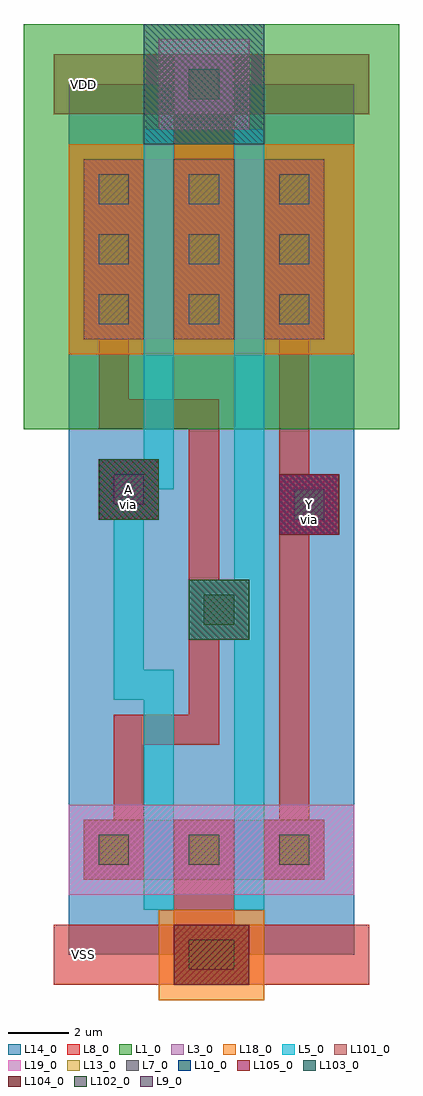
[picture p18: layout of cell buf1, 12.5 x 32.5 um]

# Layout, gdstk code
import gdstk
lib = gdstk.Library(unit=1e-6, precision=1e-09)
def R(c, l, rs):  # rectangles x0, y0, x1, y1
    for r in rs: c.add(gdstk.rectangle(r[:2], r[2:], *l))
L1_0 = (1, 0)
L3_0 = (3, 0)
L5_0 = (5, 0)
L7_0 = (7, 0)
L8_0 = (8, 0)
L9_0 = (9, 0)
L10_0 = (10, 0)
L13_0 = (13, 0)
L14_0 = (14, 0)
L18_0 = (18, 0)
L19_0 = (19, 0)
L101_0 = (101, 0)
L102_0 = (102, 0)
L103_0 = (103, 0)
L104_0 = (104, 0)
L105_0 = (105, 0)

dcont = lib.new_cell('dcont')
R(dcont, L3_0, [(-1,-1,1,1)])
R(dcont, L7_0, [(-0.5,-0.5,0.5,0.5)])
R(dcont, L8_0, [(-1,-1,1,1)])
R(dcont, L13_0, [(-0.5,-0.5,0.5,0.5)])
R(dcont, L101_0, [(-1,-1,1,1)])
dcont.add(gdstk.Label('dcont', (0,0), layer=13, texttype=0))

psubcont = lib.new_cell('psubcont')
R(psubcont, L18_0, [(-1.5,-1.5,1.5,1.5)])
R(psubcont, L104_0, [(-1,-1,1,1)])
psubcont.add(gdstk.Reference(dcont, (0,0)))
psubcont.add(gdstk.Label('PScon', (0,0), layer=13, texttype=0))

nsubcont = lib.new_cell('nsubcont')
R(nsubcont, L1_0, [(-2,-2,2,2)])
R(nsubcont, L19_0, [(-1.5,-1.5,1.5,1.5)])
R(nsubcont, L103_0, [(-2,-2,2,2)])
nsubcont.add(gdstk.Reference(dcont, (0,0)))
nsubcont.add(gdstk.Label('NScont', (0,0), layer=13, texttype=0))

via = lib.new_cell('Via')
R(via, L8_0, [(-1,-1,1,1)])
R(via, L9_0, [(-0.5,-0.5,0.5,0.5)])
R(via, L10_0, [(-1,-1,1,1)])
R(via, L13_0, [(-0.5,-0.5,0.5,0.5)])
R(via, L105_0, [(-1,-1,1,1)])
via.add(gdstk.Label('via', (0,0), layer=13, texttype=0))

pcont = lib.new_cell('pcont')
R(pcont, L5_0, [(-1,-1,1,1)])
R(pcont, L7_0, [(-0.5,-0.5,0.5,0.5)])
R(pcont, L8_0, [(-1,-1,1,1)])
R(pcont, L102_0, [(-1,-1,1,1)])
pcont.add(gdstk.Label('pcont', (0,0), layer=13, texttype=0))

buf1 = lib.new_cell('buf1')
R(buf1, L1_0, [(-1.5,17.5,11,31)])
R(buf1, L3_0, [(0.5,2.5,8.5,4.5), (0.5,20.5,8.5,26.5)])
R(buf1, L8_0, [(-0.5,-1,10,1), (7,14,9,16), (1,14.5,3,16.5), (-0.5,28,10,30)])
R(buf1, L10_0, [(7,14,9,16), (1,14.5,3,16.5)])
R(buf1, L14_0, [(0,0,9.5,29)])
R(buf1, L18_0, [(0,20,9.5,27)])
R(buf1, L19_0, [(0,2,9.5,5)])
R(buf1, L105_0, [(7,14,9,16), (1,14.5,3,16.5)])
buf1.add(gdstk.FlexPath([(4.5,21.5),(4.5,28.5)], 2, ends="extended", simple_path=True, layer=8, datatype=0))  # L8_0
buf1.add(gdstk.FlexPath([(4.5,1),(4.5,3.5)], 2, ends="extended", simple_path=True, layer=8, datatype=0))  # L8_0
buf1.add(gdstk.FlexPath([(1.5,22.3),(1.5,25.5)], 1.4, ends="extended", simple_path=True, layer=8, datatype=0))  # L8_0
buf1.add(gdstk.FlexPath([(1.5,21.5),(1.5,18),(4.5,18),(4.5,7.5),(2,7.5),(2,3.8)], 1, ends="extended", simple_path=True, layer=8, datatype=0))  # L8_0
buf1.add(gdstk.FlexPath([(7.5,22.3),(7.5,25.5)], 1.4, ends="extended", simple_path=True, layer=8, datatype=0))  # L8_0
buf1.add(gdstk.FlexPath([(7.5,3.9),(7.5,21.5)], 1, ends="extended", simple_path=True, layer=8, datatype=0))  # L8_0
buf1.add(gdstk.FlexPath([(3,2),(3,9),(2,9),(2,16),(3,16),(3,27)], 1, ends="extended", simple_path=True, layer=5, datatype=0))  # L5_0
buf1.add(gdstk.FlexPath([(6,27),(6,2)], 1, ends="extended", simple_path=True, layer=5, datatype=0))  # L5_0
buf1.add(gdstk.Reference(dcont, (4.5,21.5)))
buf1.add(gdstk.Reference(dcont, (1.5,25.5)))
buf1.add(gdstk.Reference(psubcont, (5,0)))
buf1.add(gdstk.Reference(dcont, (4.5,25.5)))
buf1.add(gdstk.Reference(dcont, (7.5,25.5)))
buf1.add(gdstk.Reference(nsubcont, (4.5,29)))
buf1.add(gdstk.Reference(psubcont, (4.5,0)))
buf1.add(gdstk.Reference(dcont, (1.5,21.5)))
buf1.add(gdstk.Reference(dcont, (4.5,3.5)))
buf1.add(gdstk.Reference(via, (8,15)))
buf1.add(gdstk.Reference(dcont, (7.5,23.5)))
buf1.add(gdstk.Reference(dcont, (1.5,3.5)))
buf1.add(gdstk.Reference(dcont, (7.5,21.5)))
buf1.add(gdstk.Reference(dcont, (1.5,23.5)))
buf1.add(gdstk.Reference(via, (2,15.5)))
buf1.add(gdstk.Reference(pcont, (2,15.5)))
buf1.add(gdstk.Reference(dcont, (4.5,23.5)))
buf1.add(gdstk.Reference(dcont, (7.5,3.5)))
buf1.add(gdstk.Reference(pcont, (5,11.5)))
buf1.add(gdstk.Label('VDD', (0.5,29), layer=8, texttype=0))
buf1.add(gdstk.Label('VSS', (0.5,0), layer=8, texttype=0))
buf1.add(gdstk.Label('via', (8,14.5), layer=13, texttype=0))
buf1.add(gdstk.Label('via', (2,15), layer=13, texttype=0))
buf1.add(gdstk.Label('A', (2,15.5), layer=10, texttype=0))
buf1.add(gdstk.Label('Y', (8,15), layer=10, texttype=0))

lib.write_gds('buf1.gds')
